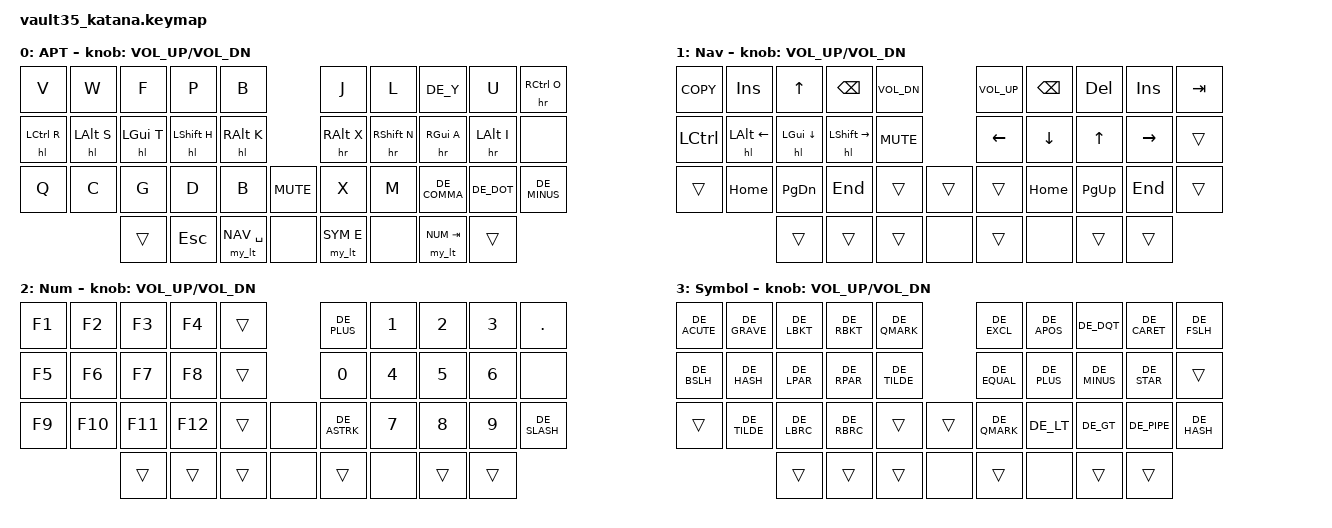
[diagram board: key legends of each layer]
/*
 * Copyright (c) 2020 The ZMK Contributors
 *
 * SPDX-License-Identifier: MIT
 */

#include "base_vault35_katana.h"

/ {
    keymap {
        compatible = "zmk,keymap";

        aptmak {
            label = "APT";

            bindings = <
                &kp V          &kp W          &kp F          &kp P         &kp B            &kp J          &kp L          &kp DE_Y       &kp U          &hr RCTRL O
                &hl LCTRL R    &hl LALT S     &hl LGUI T     &hl LSHFT H   &hl RALT K       &hr RALT X     &hr RSHFT N    &hr RGUI A     &hr LALT I     &none
                &kp Q          &kp C          &kp G          &kp D         &kp B &kp C_MUTE &kp X          &kp M          &kp DE_COMMA   &kp DE_DOT     &kp DE_MINUS
                                              &trans      &kp ESC  &my_lt NAV SPACE &none  &my_lt SYM E &none   &my_lt NUM TAB &trans
            >;
		sensor-bindings = <&inc_dec_kp C_VOL_UP C_VOL_DN>;
        };
    //     kneir_layer {
    //         label = "Base";
    //         bindings = <
    //    &kp DE_Y      &kp L        &kp G        &kp D          &kp P              &kp J         &kp F         &kp O        &kp U       &hr RCTRL R
    //    &hl LCTRL A   &hl LALT S   &hl LGUI T   &hl LSHFT H    &hl RALT B         &hr RALT K    &hr RSHFT N   &hr RGUI E   &hr LALT I  &none
    //    &kp Q         &kp W        &kp C        &kp V          &kp X      &none   &kp DE_Z      &kp M         &kp DE_COMMA &kp DE_DOT  &kp DE_MINUS
    //                  &trans       &my_lt MED ESC  &my_lt NAV SPACE &none &my_lt SYM ENTER &none   &my_lt NUM TAB &trans
    //                  // &kp N1       &kp N2  &kp N3 &kp N4 &kp N5 &kp N6   &kp N7 &kp N8
    //         >;
		// sensor-bindings = <&inc_dec_kp C_VOL_UP C_VOL_DN>;
    //     };

        nav_layer {
            label = "Nav";
            bindings = <
                &kp COPY       &kp INSERT     &kp UP         &kp BSPC        &kp C_VOL_DN   &kp C_VOL_UP   &kp BSPC       &kp DEL        &kp INSERT     &kp TAB
                &kp LCTRL      &hl LALT LEFT  &hl LGUI DOWN  &hl LSHFT RIGHT &kp C_MUTE     &kp LEFT       &kp DOWN       &kp UP         &kp RIGHT      &trans
                &trans         &kp HOME       &kp PG_DN      &kp END         &trans  &trans &trans         &kp HOME       &kp PG_UP      &kp END        &trans
                  &trans     &trans      &trans          &none            &trans           &none          &trans      &trans
            >;
		sensor-bindings = <&inc_dec_kp C_VOL_UP C_VOL_DN>;
        };

        num_layer {
            label = "Num";
            bindings = <
       &kp F1     &kp F2     &kp F3      &kp F4          &trans           &kp DE_PLUS   &kp N1         &kp N2      &kp N3     &kp DOT
       &kp F5     &kp F6     &kp F7      &kp F8          &trans           &kp N0        &kp N4         &kp N5      &kp N6     &none
       &kp F9     &kp F10    &kp F11     &kp F12         &trans   &none   &kp DE_ASTRK  &kp N7         &kp N8      &kp N9     &kp DE_SLASH
                  &trans     &trans      &trans          &none            &trans           &none          &trans      &trans
            >;
		sensor-bindings = <&inc_dec_kp C_VOL_UP C_VOL_DN>;
        };

        symbol_layer {
            label = "Symbol";
            bindings = <
                &kp DE_ACUTE   &kp DE_GRAVE   &kp DE_LBKT    &kp DE_RBKT      &kp DE_QMARK   &kp DE_EXCL     &kp DE_APOS    &kp DE_DQT     &kp DE_CARET   &kp DE_FSLH
                &kp DE_BSLH    &kp DE_HASH    &kp DE_LPAR    &kp DE_RPAR      &kp DE_TILDE   &kp DE_EQUAL    &kp DE_PLUS    &kp DE_MINUS   &kp DE_STAR    &trans
                &trans         &kp DE_TILDE   &kp DE_LBRC    &kp DE_RBRC      &trans  &trans &kp DE_QMARK    &kp DE_LT      &kp DE_GT      &kp DE_PIPE    &kp DE_HASH
                  &trans     &trans      &trans          &none            &trans           &none          &trans      &trans
            >;
		sensor-bindings = <&inc_dec_kp C_VOL_UP C_VOL_DN>;
        };
    };

};
